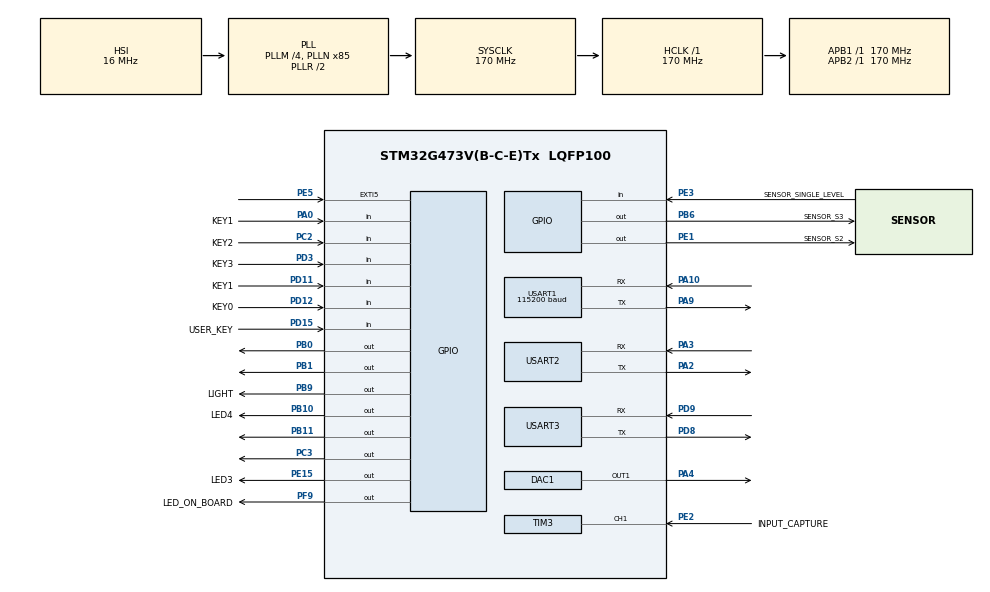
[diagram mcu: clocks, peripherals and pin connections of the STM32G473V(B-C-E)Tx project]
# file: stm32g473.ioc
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IWDG.Prescaler=IWDG_PRESCALER_256
Mcu.Family=STM32G4
Mcu.Name=STM32G473V(B-C-E)Tx
Mcu.Package=LQFP100
NVIC.EXTI9_5_IRQn=true\:0\:0\:false\:false\:true\:true\:true
NVIC.PriorityGroup=NVIC_PRIORITYGROUP_4
NVIC.TIM1_TRG_COM_TIM17_IRQn=true\:0\:0\:false\:false\:true\:true\:true
NVIC.TIM3_IRQn=true\:0\:0\:false\:false\:true\:true\:true
NVIC.USART1_IRQn=true\:0\:0\:false\:false\:true\:true\:true
NVIC.USART3_IRQn=true\:0\:0\:false\:false\:true\:true\:true
PA0.GPIO_Label=KEY1
PA0.GPIO_PuPd=GPIO_PULLUP
PA0.Signal=GPIO_Input
PA10.GPIO_Speed=GPIO_SPEED_FREQ_VERY_HIGH
PA10.Mode=Asynchronous
PA10.Signal=USART1_RX
PA13.Mode=Serial_Wire
PA13.Signal=SYS_JTMS-SWDIO
PA14.Mode=Serial_Wire
PA14.Signal=SYS_JTCK-SWCLK
PA2.Mode=Asynchronous
PA2.Signal=USART2_TX
PA3.Mode=Asynchronous
PA3.Signal=USART2_RX
PA4.Signal=COMP_DAC11_group
PA9.GPIO_Speed=GPIO_SPEED_FREQ_VERY_HIGH
PA9.Mode=Asynchronous
PA9.Signal=USART1_TX
PB0.GPIO_Speed=GPIO_SPEED_FREQ_VERY_HIGH
PB0.PinState=GPIO_PIN_RESET
PB0.Signal=GPIO_Output
PB1.GPIO_Speed=GPIO_SPEED_FREQ_VERY_HIGH
PB1.Signal=GPIO_Output
PB10.GPIO_Label=LED4
PB10.Signal=GPIO_Output
PB11.GPIO_Speed=GPIO_SPEED_FREQ_VERY_HIGH
PB11.Signal=GPIO_Output
PB6.GPIO_Label=SENSOR_S3
PB6.Signal=GPIO_Output
PB9.GPIO_Label=LIGHT
PB9.Signal=GPIO_Output
PC2.GPIO_Label=KEY2
PC2.GPIO_PuPd=GPIO_PULLUP
PC2.Signal=GPIO_Input
PC3.GPIO_Speed=GPIO_SPEED_FREQ_VERY_HIGH
PC3.Signal=GPIO_Output
PD11.GPIO_Label=KEY1
PD11.GPIO_PuPd=GPIO_PULLUP
PD11.Signal=GPIO_Input
PD12.GPIO_Label=KEY0
PD12.GPIO_PuPd=GPIO_PULLUP
PD12.Signal=GPIO_Input
PD15.GPIO_Label=USER_KEY
PD15.Signal=GPIO_Input
PD3.GPIO_Label=KEY3
PD3.GPIO_PuPd=GPIO_PULLUP
PD3.Signal=GPIO_Input
PD8.Mode=Asynchronous
PD8.Signal=USART3_TX
PD9.Mode=Asynchronous
PD9.Signal=USART3_RX
PE1.GPIO_Label=SENSOR_S2
PE1.Signal=GPIO_Output
PE15.GPIO_Label=LED3
PE15.Signal=GPIO_Output
PE2.GPIO_Label=INPUT_CAPTURE
PE2.Signal=S_TIM3_CH1
PE3.GPIO_Label=SENSOR_SINGLE_LEVEL
PE3.GPIO_PuPd=GPIO_PULLDOWN
PE3.Signal=GPIO_Input
PE5.GPIO_ModeDefaultEXTI=GPIO_MODE_IT_RISING
PE5.GPIO_PuPd=GPIO_PULLDOWN
PE5.Signal=GPXTI5
PF9.GPIO_Label=LED_ON_BOARD
PF9.Signal=GPIO_Output
ProjectManager.HeapSize=0x2000
ProjectManager.StackSize=0x4000
ProjectManager.TargetToolchain=MDK-ARM V5.27
RCC.ADC12Freq_Value=170000000
RCC.ADC345Freq_Value=170000000
RCC.AHBFreq_Value=170000000
RCC.APB1Freq_Value=170000000
RCC.APB1TimFreq_Value=170000000
RCC.APB2Freq_Value=170000000
RCC.APB2TimFreq_Value=170000000
RCC.CortexFreq_Value=170000000
RCC.EXTERNAL_CLOCK_VALUE=12288000
RCC.HCLKFreq_Value=170000000
RCC.HSE_VALUE=8000000
RCC.HSI48_VALUE=48000000
RCC.HSI_VALUE=16000000
RCC.LSE_VALUE=32768
RCC.PLLM=RCC_PLLM_DIV4
RCC.PLLN=85
RCC.SYSCLKFreq_VALUE=170000000
RCC.SYSCLKSource=RCC_SYSCLKSOURCE_PLLCLK
RCC.USBFreq_Value=170000000
RCC.VCOOutputFreq_Value=340000000
SH.COMP_DAC11_group.0=DAC1_OUT1,DAC_OUT1
SH.S_TIM3_CH1.0=TIM3_CH1,Input_Capture1_from_TI1
TIM17.PeriodNoDither=10-1
TIM17.Prescaler=16
TIM3.Channel-Input_Capture1_from_TI1=TIM_CHANNEL_1
TIM3.Prescaler=170-1
USART1.BaudRate=115200
USART1.VirtualMode-Asynchronous=VM_ASYNC
USART2.VirtualMode-Asynchronous=VM_ASYNC
USART3.VirtualMode-Asynchronous=VM_ASYNC
VP_IWDG_VS_IWDG.Mode=IWDG_Activate
VP_SYS_VS_DBSignals.Mode=DisableDeadBatterySignals
VP_TIM17_VS_ClockSourceINT.Mode=Enable_Timer
board=custom

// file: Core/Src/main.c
/* USER CODE BEGIN Header */
/**
  ******************************************************************************
  * @file           : main.c
  * @brief          : Main program body
  ******************************************************************************
  * @attention
  *
  * <h2><center>&copy; Copyright (c) 2021 STMicroelectronics.
  * All rights reserved.</center></h2>
  *
  * This software component is licensed by ST under BSD 3-Clause license,
  * the "License"; You may not use this file except in compliance with the
  * License. You may obtain a copy of the License at:
  *                        opensource.org/licenses/BSD-3-Clause
  *
  ******************************************************************************
  */
/* USER CODE END Header */
#include "main.h"
#include "dac.h"
#include "iwdg.h"
#include "tim.h"
#include "usart.h"
#include "gpio.h"

/* USER CODE BEGIN Includes */
#include "at_cmds.h"
#include "event.h"
#include "lcd.h"

/* USER CODE END Includes */

/* USER CODE BEGIN PTD */
__IO uint32_t time_us_count = 0;
uint32_t sample_count = 1;
uint32_t system_sleep = 0;

__IO uint32_t pulse_filter = PULSE_CAPTURE_FILTERCNT;
__IO uint32_t led_on_time = 5;

/* USER CODE END PTD */

void SystemClock_Config(void);

int main(void)
{

  /* MCU Configuration--------------------------------------------------------*/

  /* Reset of all peripherals, Initializes the Flash interface and the Systick. */
  HAL_Init();

  /* Configure the system clock */
  SystemClock_Config();

  /* Initialize all configured peripherals */
  MX_GPIO_Init();
  MX_USART1_UART_Init();
  MX_TIM17_Init();
  MX_TIM3_Init();
  MX_USART2_UART_Init();
  MX_IWDG_Init();
  MX_USART3_UART_Init();

    #if 0

  MX_DAC1_Init();
  #endif
  /* USER CODE BEGIN 2 */
  HAL_TIM_IC_Start_IT(&htim3, TIM_CHANNEL_1);

  //    S2  S3  filter
  //    L   L   RED
  //    L   H   BLUE
  //    H   L   WHITE
  //    H   H   GREEN
    printf ("\r\n\r\n");
    printf ("------------------------------------\r\n");
    printf ("------------------------------------\r\n");

    printf ("Photon Capture Start\r\n");

//
    printf ("------------------------------------\r\n");
    printf ("------------------------------------\r\n\r\n");

    LIGHT_ON();
    LED3_ON();
    LED4_ON();
    HAL_Delay(200);

    LIGHT_OFF();
    LED3_OFF();
    LED4_OFF();

    #if 0
    DAC1_OUT1_Set_Vol(500); // 2200 OK
    #endif

  /* USER CODE END 2 */

  /* Infinite loop */
  while (1)
  {

    /* USER CODE BEGIN 3 */

    at_cmd_recv_handle(&iap_recv_buf);

    if(read_key0 () == 0)
    {
        LIGHT_ON();
    }
    if( read_key1() == 0)
    {
        LIGHT_OFF();
    }

    bsp_led_blink(333);

    pulse_data_parser(&input_capture);
    system_event_handler();
    lcd_infor_update(&capture_data, 300);

    iwdg_feeddog();

  }
  /* USER CODE END 3 */
}

void SystemClock_Config(void)
{
  RCC_OscInitTypeDef RCC_OscInitStruct = {0};
  RCC_ClkInitTypeDef RCC_ClkInitStruct = {0};

  /** Configure the main internal regulator output voltage
  */
  HAL_PWREx_ControlVoltageScaling(PWR_REGULATOR_VOLTAGE_SCALE1_BOOST);
  /** Initializes the RCC Oscillators according to the specified parameters
  * in the RCC_OscInitTypeDef structure.
  */
  RCC_OscInitStruct.OscillatorType = RCC_OSCILLATORTYPE_HSI|RCC_OSCILLATORTYPE_LSI;
  RCC_OscInitStruct.HSIState = RCC_HSI_ON;
  RCC_OscInitStruct.HSICalibrationValue = RCC_HSICALIBRATION_DEFAULT;
  RCC_OscInitStruct.LSIState = RCC_LSI_ON;
  RCC_OscInitStruct.PLL.PLLState = RCC_PLL_ON;
  RCC_OscInitStruct.PLL.PLLSource = RCC_PLLSOURCE_HSI;
  RCC_OscInitStruct.PLL.PLLM = RCC_PLLM_DIV4;
  RCC_OscInitStruct.PLL.PLLN = 85;
  RCC_OscInitStruct.PLL.PLLP = RCC_PLLP_DIV2;
  RCC_OscInitStruct.PLL.PLLQ = RCC_PLLQ_DIV2;
  RCC_OscInitStruct.PLL.PLLR = RCC_PLLR_DIV2;
  if (HAL_RCC_OscConfig(&RCC_OscInitStruct) != HAL_OK)
  {
    Error_Handler();
  }
  /** Initializes the CPU, AHB and APB buses clocks
  */
  RCC_ClkInitStruct.ClockType = RCC_CLOCKTYPE_HCLK|RCC_CLOCKTYPE_SYSCLK
                              |RCC_CLOCKTYPE_PCLK1|RCC_CLOCKTYPE_PCLK2;
  RCC_ClkInitStruct.SYSCLKSource = RCC_SYSCLKSOURCE_PLLCLK;
  RCC_ClkInitStruct.AHBCLKDivider = RCC_SYSCLK_DIV1;
  RCC_ClkInitStruct.APB1CLKDivider = RCC_HCLK_DIV1;
  RCC_ClkInitStruct.APB2CLKDivider = RCC_HCLK_DIV1;

  if (HAL_RCC_ClockConfig(&RCC_ClkInitStruct, FLASH_LATENCY_4) != HAL_OK)
  {
    Error_Handler();
  }
}

void Error_Handler(void)
{
  __disable_irq();
  while (1)
  {
  }
}

#ifdef  USE_FULL_ASSERT
/**
  * @brief  Reports the name of the source file and the source line number
  *         where the assert_param error has occurred.
  * @param  file: pointer to the source file name
  * @param  line: assert_param error line source number
  * @retval None
  */
void assert_failed(uint8_t *file, uint32_t line)
{
  /* USER CODE BEGIN 6 */
  /* User can add his own implementation to report the file name and line number,
     ex: printf("Wrong parameters value: file %s on line %d\r\n", file, line) */
    printf("Wrong parameters value: file %s on line %d\r\n", file, line);
  /* USER CODE END 6 */
}
#endif /* USE_FULL_ASSERT */
